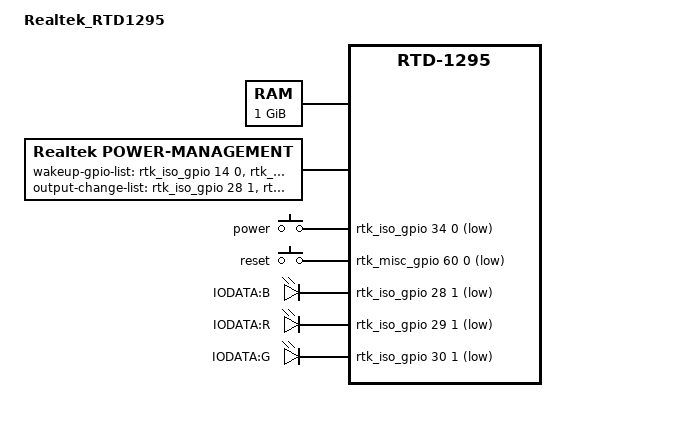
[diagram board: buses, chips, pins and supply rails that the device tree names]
/dts-v1/;
#define CONFIG_ARCH_RTD129X
#include "../../../../../include/soc/realtek/memory.h"

/memreserve/ SYS_BOOTCODE_MEMBASE       SYS_BOOTCODE_MEMSIZE        ; /* 0x00000000 ~ 0x00030000 */
/memreserve/ RPC_COMM_PHYS              RPC_COMM_SIZE               ; /* 0x0001f000 ~ 0x001fffff */
/memreserve/ ACPU_FIREWARE_PHYS         ACPU_FIREWARE_SIZE          ; /* 0x01b00000 ~ 0x01efffff */
/memreserve/ RPC_RINGBUF_PHYS           RPC_RINGBUF_SIZE            ; /* 0x01ffe000 ~ 0x02001fff */
/memreserve/ ACPU_IDMEM_PHYS            ACPU_IDMEM_SIZE             ; /* 0x10000000 ~ 0x10013fff */


#include "rtd-1295-MM.dtsi"
#include "rtd-129x-dvfs.dtsi"

/ {
	model= "Realtek_RTD1295";
	compatible = "Realtek,FPGA_v7", "Realtek,rtd-1295";

	aliases {
		serial0 = &uart0;
	};

	chosen {
		bootargs = "earlycon=uart8250,mmio32,0x98007800 console=ttyS0,115200 loglevel=7";
        compatible = "Realtek,rtk1295-cma_info";
        /* NOTE ---------------------------------------------------------------------------------------------*/
        /* <flag size base>                                                                                  */
        /* flag: reserved                                                                                    */
        /* size: unit is byte                                                                                */
        /* base: unit is byte                                                                                */
        /* --------------------------------------------------------------------------------------------------*/
        /* Array size not over 8;                                                                            */
        /* You may change the max array size in KConfig, max CMA array size is CONFIG_CMA_AREAS+1            */
        /* If cma-region-enable is enabled<1>, kernel driver will use cma-region-info to initial CMA memory. */
        /* If cma-region-enable is disabled<0>, kernel driver will use cma= to initial CMA memory.           */
        /* if both setting is loaded, cma-region-info had higher priority.                                   */
        /* --------------------------------------------------------------------------------------------------*/
        cma-region-enable = <1>;
        cma-region-info = <0x00000000 0x01000000 0x1100000>;
        /*cma-region-info = <0x00000000 0x01000000 0x12c00000>, <0x00000000 0x12c00000 0x20000000>;*/
	};

	memory {
		device_type = "memory";
		reg = <0 0x40000000>;	/* 1024 MB */
	};
	mem_remap {
        compatible = "Realtek,rtk1295-mem_remap";
        #address-cells = <1>;
        #size-cells = <1>;
        ranges;
        rbus {
            reg = <RBUS_BASE_PHYS RBUS_BASE_SIZE>;
        };
        common {
            reg = <RPC_COMM_PHYS RPC_COMM_SIZE>;
        };
        ringbuf {
            reg = <RPC_RINGBUF_PHYS RPC_RINGBUF_SIZE>;
        };
    };

	rtk_misc_gpio: rtk_misc_gpio@9801b100 {
		gpios = <&rtk_misc_gpio 8 0 0>;
		/* install button, input, default N/A */

		gpios =
		<&rtk_misc_gpio 13 0 0>,
		<&rtk_misc_gpio 14 0 0>,
		<&rtk_misc_gpio 100 0 0>;
		/* boardmodel_pin */
	};

	rtk_iso_gpio: rtk_iso_gpio@98007100 {
		//gpios = <&rtk_iso_gpio 1 1 1>;
		/*gpios = <&rtk_iso_gpio 21 1 0>;
		 igpio21, output, default low */
	};

	timer {
		clock-frequency = <27000000>;
	};

	timer0@9801b000 {
		clock-frequency = <27000000>;
	};

	uart0: serial0@98007800 {
		clock-frequency = <27000000>;
	};

	power-management{
		compatible = "Realtek,power-management";

		/* GPIO Wakeup */
		wakeup-gpio-enable = /* (0) disable (1) enable */
			<0>, /* Wakeup from BT : disable */
			<1>, /* Wakeup from WiFi : enable */
			<1>; /* Wakeup from Button : enable */
		wakeup-gpio-list = /* <&rtk_iso_gpio {num} {force input (0) } {default N/A (0)] }> */
			<&rtk_iso_gpio 14 0 0>, /* BT wakeup host pin */
			<&rtk_iso_gpio 33 0 0>, /* WiFi wakeup host pin */
			<&rtk_iso_gpio 34 0 0>; /* Button wakeup host pin */
		wakeup-gpio-activity = /* (0) active low (1) active high*/
			<0>, /* BT : low activity */
			<0>, /* Wifi : low activity */
			<0>; /* Button : low activity */
		gpio-output-change-enable = <1>,<1>,<1>; /* (0) disable (1) enable */
		gpio-output-change-list =
					<&rtk_iso_gpio 28 1 0>, /* <&rtk_iso_gpio {num} 1 {low/high}> */
					<&rtk_iso_gpio 29 1 0>, /* <&rtk_iso_gpio {num} 1 {low/high}> */
					<&rtk_iso_gpio 30 1 0>; /* <&rtk_iso_gpio {num} 1 {low/high}> */
		gpio-output-change-activity = <1>,<1>,<1>; /* (0) output low at suspend (1) output high at suspend */
	};
	gpio-keys-polled {
		compatible = "gpio-keys-polled";
		#address-cells = <1>;
		#size-cells = <0>;
		poll-interval = <20>;
		power {
			label = "power";
			gpios = <&rtk_iso_gpio 34 0 1>;
			linux,code = <0x164>;
		};
		reset {
			label = "reset";
			gpios = <&rtk_misc_gpio 60 0 1>;
			linux,code = <0x198>;
		};
	};
	gpio-leds {
		compatible = "gpio-leds";
		LED_B {
			label = "IODATA:B";
			gpios = <&rtk_iso_gpio 28 1 1>;
			default-state = "on";
			linux,default-trigger = "timer";
			linux,default-delay_on = "200";
			linux,default-delay_off = "200";
		};
		LED_R {
			label = "IODATA:R";
			gpios = <&rtk_iso_gpio 29 1 1>;
			default-state = "on";
			linux,default-trigger = "timer";
			linux,default-delay_on = "200";
			linux,default-delay_off = "200";
		};
		LED_G {
			label = "IODATA:G";
			gpios = <&rtk_iso_gpio 30 1 1>;
			default-state = "on";
			linux,default-trigger = "timer";
			linux,default-delay_on = "200";
			linux,default-delay_off = "200";
		};
	};
};
